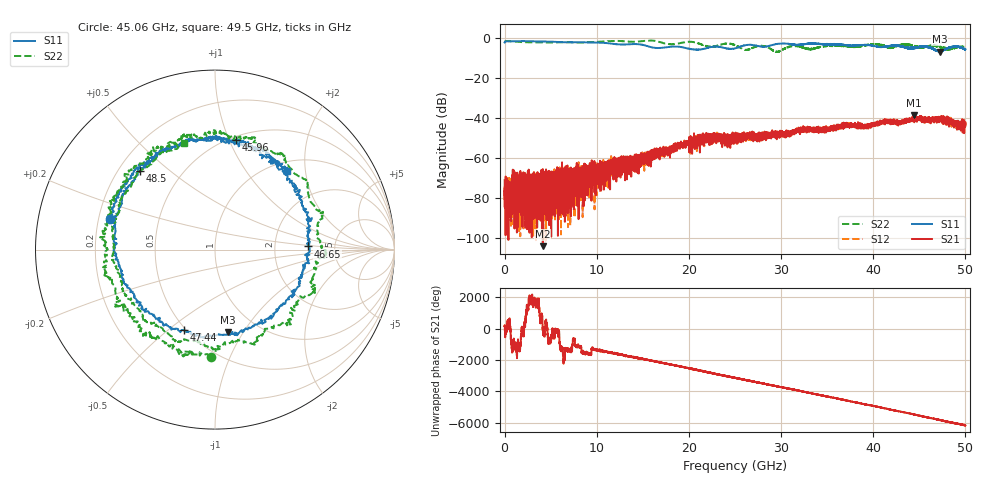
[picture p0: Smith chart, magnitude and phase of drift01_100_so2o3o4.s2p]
!Created with skrf (http://scikit-rf.org).
# Hz S RI R 50.0
!freq ReS11 ImS11 ReS21 ImS21 ReS12 ImS12 ReS22 ImS22
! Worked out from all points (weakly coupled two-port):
!   10001 points, 300 kHz to 50 GHz, reference 50 ohm
!   highest |S21| = -38.60 dB at 44.39 GHz (marker M1); lowest = -104.2 dB at 4.145 GHz (marker M2)
!   lowest |S11| = -6.6 dB at 47.24 GHz (marker M3), VSWR 2.74, Z = 36.4 - j42.7 ohm
!   |S11| at or under -10 dB: nowhere
!   |S22| runs from -6.8 to -1.0 dB; largest |S21 - S12| = 0.0034
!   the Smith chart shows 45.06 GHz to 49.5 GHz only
!   S11 on the Smith chart (normalised r, x): 45.06 GHz: 0.25, +0.14; 45.96 GHz: 0.53, +1.06; 46.65 GHz: 3.17, +0.16; 47.44 GHz: 0.49, -0.57; 48.5 GHz: 0.29, +0.40; 49.5 GHz: 1.18, +1.58
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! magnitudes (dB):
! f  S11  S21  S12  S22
! 300 kHz  -2.1  -77.0  -70.5  -1.3
! 490.3 MHz  -1.5  -85.8  -72.8  -1.4
! 4.145 GHz  -1.6  -104.2  -85.9  -2.1
! 8.335 GHz  -1.9  -73.6  -77.1  -2.1
! 16.67 GHz  -4.8  -57.9  -56.6  -1.6
! 21.69 GHz  -5.1  -49.7  -49.7  -3.5
! 25 GHz  -5.0  -48.5  -49.8  -3.4
! 26.18 GHz  -3.3  -49.0  -49.7  -5.7
! 28.09 GHz  -4.2  -48.6  -48.4  -3.8
! 29.53 GHz  -2.8  -46.9  -48.1  -6.7
! 31.31 GHz  -3.1  -47.2  -46.7  -3.9
! 33.34 GHz  -2.6  -44.9  -45.4  -5.5
! 41.67 GHz  -3.9  -41.6  -41.4  -4.5
! 44.39 GHz  -4.7  -38.6  -40.5  -3.7
! 45.06 GHz  -4.3  -40.2  -40.0  -4.5
! 45.96 GHz  -4.1  -40.2  -41.0  -4.1
! 46.65 GHz  -5.7  -40.3  -40.7  -3.8
! 47.24 GHz  -6.6  -39.7  -40.2  -4.4
! 47.44 GHz  -6.4  -40.6  -40.8  -4.2
! 48.5 GHz  -4.4  -41.3  -44.3  -5.4
! 49.5 GHz  -4.6  -46.0  -44.6  -4.2
! 50 GHz  -5.5  -42.3  -41.6  -4.3
